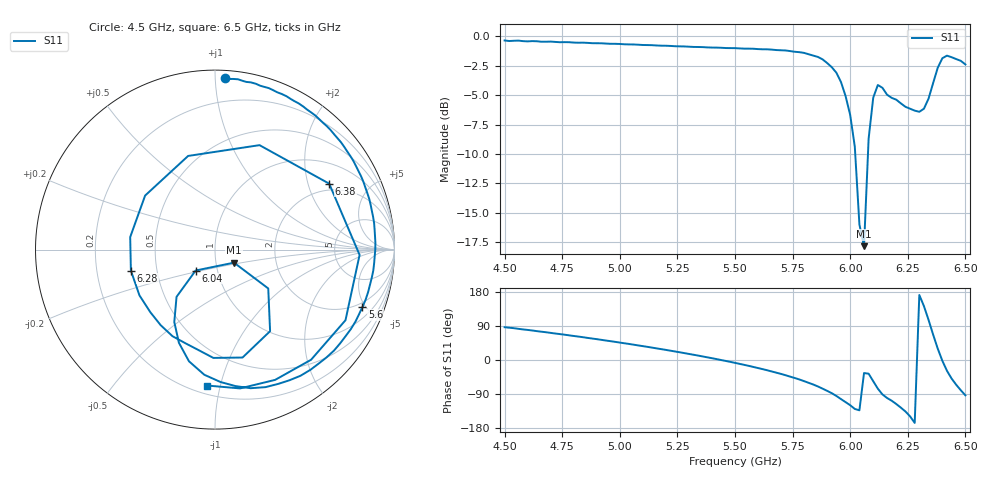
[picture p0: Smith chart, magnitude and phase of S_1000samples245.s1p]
! TOUCHSTONE file generated by CST MICROWAVE STUDIO
! Date and time: Thu Oct 27 12:23:47 2022
! Project name: L.cst
! Parameters = {Di=1.27; Epsilon_r=1.56; InnerDiameter=1.27; Length=2; Lf=10; Lg=60; OuterConductorThickness=0.2921; OuterDiameter=3.6; Wf=3; Wp=41.2; de=1.5; df=6.8; g=0.8; gx=3.25198; gy=2.99823; h=2.34; hf=1.524; px=8.45099; py=14.3809; w=9.7; wx=5.19901; wy=11.3827}
! Header version: 2018
! Port assignment regex: !\s*Touchstone port\s*([0-9]+)\s*=\s*(CST MWS port|CST DS port)\s*([0-9]+|Zmin|Zmax)\s*\(\"(.*)\"\)(\s*mode\s*([0-9]+))?.*
! Touchstone port assignment:
! Touchstone port 1 = CST MWS port 1 ("")
# GHz S DB R 50
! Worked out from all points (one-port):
!   101 points, 4.5 GHz to 6.5 GHz, reference 50 ohm
!   lowest |S11| = -17.8 dB at 6.06 GHz (marker M1), VSWR 1.29, Z = 61.1 - j9.04 ohm
!   |S11| at or under -10 dB: 6.022 GHz to 6.077 GHz (55.28 MHz wide, 0.914 % of centre)
!   S11 on the Smith chart (normalised r, x): 4.5 GHz: 0.04, +1.06; 5.6 GHz: 1.66, -4.77; 6.04 GHz: 0.79, -0.19; 6.28 GHz: 0.35, -0.11; 6.38 GHz: 1.72, +2.75; 6.5 GHz: 0.26, -0.91
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4.5  -0.36 86.5
4.76  -0.51 66.8
5  -0.66 46.0
5.26  -0.86 20.4
5.5  -1.02 -7.6
5.6  -1.10 -21.3
5.76  -1.32 -47.6
5.9  -2.28 -81.4
5.94  -3.10 -94.9
6  -6.69 -119.3
6.02  -9.38 -129.1
6.04  -15.98 -132.8
6.06  -17.82 -34.5
6.08  -8.70 -36.1
6.1  -5.22 -56.0
6.12  -4.14 -75.7
6.14  -4.39 -90.9
6.26  -6.16 -148.8
6.28  -6.32 -166.0
6.32  -6.16 142.3
6.34  -5.31 106.0
6.36  -3.98 66.9
6.38  -2.68 30.0
6.4  -1.87 -2.1
6.42  -1.65 -28.4
6.44  -1.78 -48.9
6.46  -1.94 -65.2
6.5  -2.40 -93.3
